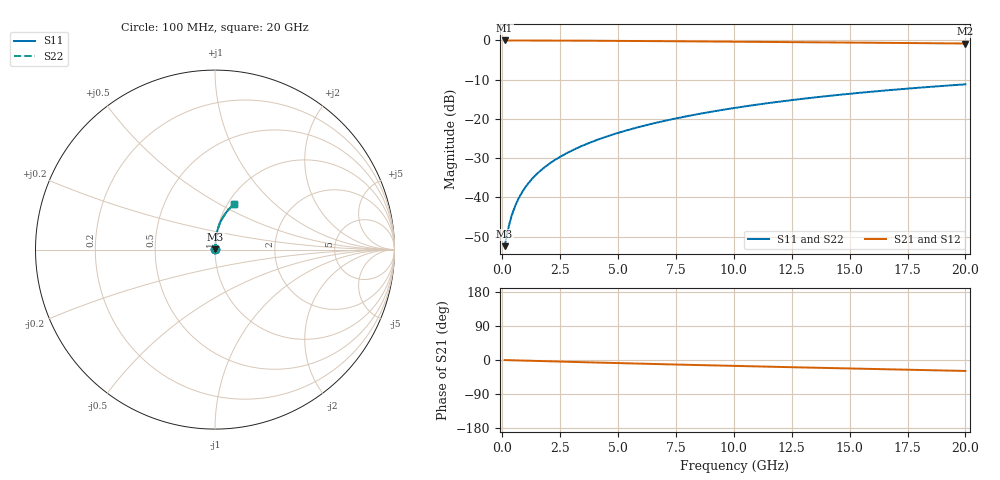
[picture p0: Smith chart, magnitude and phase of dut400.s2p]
! Touchstone file exported from HFSS 2024.1.0
!  File:  C:/UserFiles/LocalFiles/RDL_TSV_Batchsim/temp_RDL_bottom_400_1779682851.aedt
!  Generated:  12:23:07 PM May 25, 2026
!  Design:  RDL_bottom
!  Project:  temp_RDL_bottom_400_1779682851
!  Setup:  Setup1
!  Solution:  Sweep
! Variables:
!  dtsv = 10.80580581um
!  hbump = 3um
!  htsv = 69.46um
!  ldown = 417.35um
!  lrdl = 100um
!  p = 40
!  p1 = 42.28um
!  rhole = 1um
!  t = 450um
!  tdown = 4.41um
!  trdl = 3.915915916um
!  wdown = 19.05um
!  wrdl = 20um
# GHz S MA R 50.000000
! Terminal data exported
! Port[1] = RDL1_T1
! Port[2] = RDL1_T2
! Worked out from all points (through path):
!   200 points, 100 MHz to 20 GHz, reference 50 ohm
!   highest |S21| = -0.02 dB at 100 MHz (marker M1); lowest = -0.8 dB at 20 GHz (marker M2)
!   group delay of S21, straight-line fit = 3.98 ps
!   lowest |S11| = -52.4 dB at 100 MHz (marker M3), VSWR 1.00, Z = 50.2 + j0.144 ohm
!   |S11| at or under -10 dB: start of sweep to end of sweep
!   |S22| runs from -52.4 to -11.2 dB; largest |S21 - S12| = 3.2e-15
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0.1  0.002392 36.8  0.9981 -0.2  0.9981 -0.2  0.002392 36.8
! Gamma 0 0 0 0
! Port Impedance 50 0 50 0
0.2  0.003362 56.2  0.998 -0.4  0.998 -0.4  0.003359 56.2
0.3  0.004527 65.8  0.9978 -0.5  0.9978 -0.5  0.004523 65.7
0.4  0.005769 71.0  0.9977 -0.7  0.9977 -0.7  0.005764 71.0
0.5  0.007044 74.3  0.9976 -0.9  0.9976 -0.9  0.007038 74.3
0.6  0.008334 76.5  0.9975 -1.0  0.9975 -1.0  0.008328 76.4
0.8  0.01093 79.1  0.9973 -1.4  0.9973 -1.4  0.01092 79.1
1.1  0.01482 81.3  0.997 -1.9  0.997 -1.9  0.01481 81.3
1.5  0.01998 82.8  0.9964 -2.5  0.9964 -2.5  0.01998 82.8
1.8  0.02385 83.5  0.9958 -3.0  0.9958 -3.0  0.02385 83.5
2.1  0.02772 84.0  0.9952 -3.5  0.9952 -3.5  0.02772 84.0
2.7  0.03552 84.6  0.9938 -4.5  0.9938 -4.5  0.03552 84.6
3.5  0.04606 85.0  0.9914 -5.8  0.9914 -5.8  0.04605 85.0
4.2  0.05543 85.0  0.989 -6.9  0.989 -6.9  0.05542 85.0
5  0.06631 84.8  0.9859 -8.2  0.9859 -8.2  0.06631 84.8
5.9  0.07878 84.3  0.9821 -9.6  0.9821 -9.6  0.07877 84.3
6.8  0.09144 83.7  0.9781 -10.9  0.9781 -10.9  0.09143 83.7
8.4  0.1143 82.2  0.9707 -13.3  0.9707 -13.3  0.1143 82.2
10.1  0.1389 80.3  0.9625 -15.7  0.9625 -15.7  0.1389 80.3
13.4  0.1864 76.1  0.9463 -20.3  0.9463 -20.3  0.1864 76.1
16.7  0.2323 71.6  0.9297 -24.6  0.9297 -24.6  0.2323 71.5
20  0.2757 67.1  0.9127 -28.9  0.9127 -28.9  0.2756 67.0
